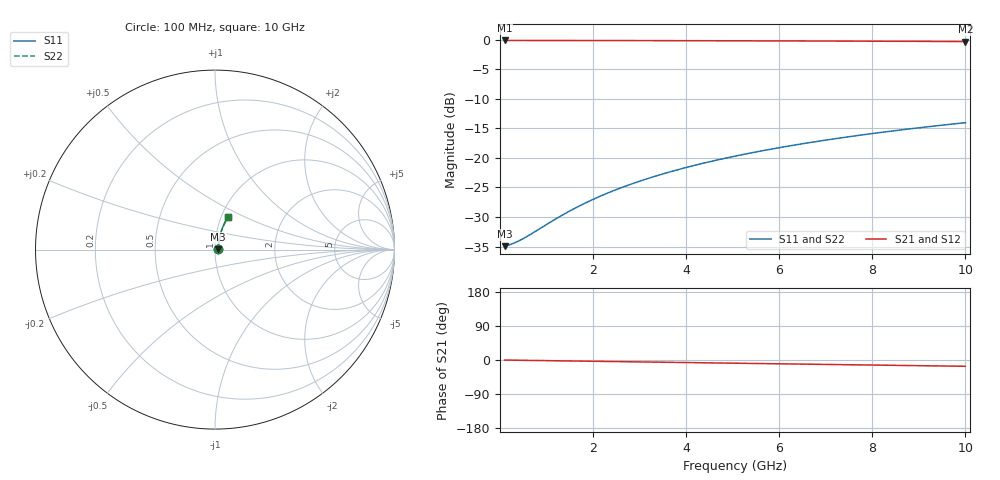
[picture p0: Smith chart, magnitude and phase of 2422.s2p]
# Hz S RI R 50.00
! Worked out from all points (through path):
!   100 points, 100 MHz to 10 GHz, reference 50 ohm
!   highest |S21| = -0.16 dB at 100 MHz (marker M1); lowest = -0.3 dB at 10 GHz (marker M2)
!   group delay of S21, straight-line fit = 4.61 ps
!   lowest |S11| = -34.9 dB at 100 MHz (marker M3), VSWR 1.04, Z = 51.8 + j0.205 ohm
!   |S11| at or under -10 dB: start of sweep to end of sweep
!   |S22| runs from -34.9 to -14.1 dB; largest |S21 - S12| = 0
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1e8  0.0178 0.00198  0.9822 -0.00288  0.9822 -0.00288  0.0178 0.00198
2e8  0.018 0.00395  0.982 -0.00576  0.982 -0.00576  0.018 0.00395
3e8  0.0181 0.00593  0.9819 -0.00864  0.9819 -0.00864  0.0181 0.00593
5e8  0.0183 0.00988  0.9817 -0.0144  0.9817 -0.0144  0.0183 0.00988
7e8  0.0185 0.0138  0.9814 -0.0201  0.9814 -0.0201  0.0185 0.0138
1.3e9  0.0194 0.0256  0.9805 -0.0374  0.9805 -0.0374  0.0194 0.0256
1.5e9  0.0198 0.0296  0.9801 -0.0431  0.9801 -0.0431  0.0198 0.0296
1.8e9  0.0205 0.0354  0.9794 -0.0517  0.9794 -0.0517  0.0205 0.0354
2.1e9  0.0212 0.0413  0.9786 -0.0603  0.9786 -0.0603  0.0212 0.0413
2.5e9  0.0223 0.0491  0.9774 -0.0717  0.9774 -0.0717  0.0223 0.0491
2.9e9  0.0237 0.0569  0.976 -0.0831  0.976 -0.0831  0.0237 0.0569
3.4e9  0.0255 0.0665  0.9739 -0.0972  0.9739 -0.0972  0.0255 0.0665
3.8e9  0.0273 0.0742  0.9721 -0.1085  0.9721 -0.1085  0.0273 0.0742
4.2e9  0.0291 0.0818  0.9701 -0.1198  0.9701 -0.1198  0.0291 0.0818
4.6e9  0.0312 0.0893  0.9679 -0.1309  0.9679 -0.1309  0.0312 0.0893
5.1e9  0.034 0.0987  0.9649 -0.1448  0.9649 -0.1448  0.034 0.0987
5.9e9  0.039 0.1135  0.9595 -0.1669  0.9595 -0.1669  0.039 0.1135
6.7e9  0.0447 0.1279  0.9534 -0.1886  0.9534 -0.1886  0.0447 0.1279
7.5e9  0.051 0.1421  0.9466 -0.21  0.9466 -0.21  0.051 0.1421
8.4e9  0.0589 0.1575  0.9381 -0.2336  0.9381 -0.2336  0.0589 0.1575
9.2e9  0.0665 0.1708  0.9299 -0.2542  0.9299 -0.2542  0.0665 0.1708
1e10  0.0746 0.1837  0.9211 -0.2744  0.9211 -0.2744  0.0746 0.1837
